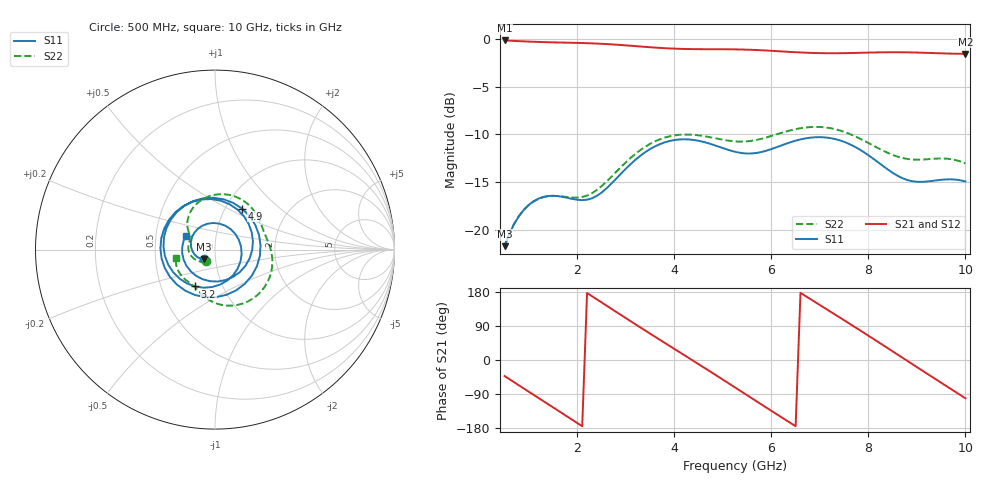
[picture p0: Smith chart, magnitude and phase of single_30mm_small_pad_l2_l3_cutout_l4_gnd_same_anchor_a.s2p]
! Touchstone file exported from HFSS 3D Layout Design 2026.1.0
!  File:  D:/Work/ADS/HFSS_VERDICT/hfss_sma_connector_cpw.aedt
!  Generated:  06:46:11 PM Aug  5, 2026
!  Design:  SINGLE_END_SMA_CPW_30MM
!  Project:  hfss_sma_connector_cpw
! Variables:
!  $sma_Base_D = 6.25mm
!  $sma_Base_L = 8mm
!  $sma_Feet_L = 4mm
!  $sma_Feet_W = 1mm
!  $sma_Front_L = 1.5mm
!  $sma_Front_W = 6.5mm
!  $sma_Hole_D = 1.25mm
!  $sma_PTFE_D = 4.2mm
!  $sma_Pin_D = 0.95mm
!  $sma_Pin_P = 1.7mm
# GHz S MA R 50.000000
! Terminal data exported
! Port[1] = Port1
! Port[2] = S1_1_Pin_T1
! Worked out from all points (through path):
!   96 points, 500 MHz to 10 GHz, reference 50 ohm
!   highest |S21| = -0.12 dB at 500 MHz (marker M1); lowest = -1.5 dB at 10 GHz (marker M2)
!   group delay of S21, straight-line fit = 227 ps
!   lowest |S11| = -21.7 dB at 500 MHz (marker M3), VSWR 1.18, Z = 44 - j4.82 ohm
!   |S11| at or under -10 dB: start of sweep to end of sweep
!   |S22| runs from -21.7 to -9.2 dB; largest |S21 - S12| = 3.2e-13
!   S11 on the Smith chart (normalised r, x): 500 MHz: 0.88, -0.10; 3.2 GHz: 0.74, -0.32; 4.9 GHz: 1.20, +0.59; 10 GHz: 0.71, +0.11
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0.5  0.08191 -138.3  0.9863 -42.3  0.9863 -42.3  0.08246 -128.1
0.9  0.1274 -177.6  0.9755 -75.6  0.9755 -75.6  0.1275 -156.2
1.2  0.1456 151.6  0.9688 -100.4  0.9688 -100.4  0.1452 -174.7
1.7  0.1487 93.8  0.9614 -141.6  0.9614 -141.6  0.1493 162.0
2.1  0.1429 37.5  0.956 -174.8  0.956 -174.8  0.1485 152.9
2.6  0.1648 -39.9  0.9443 143.6  0.9443 143.6  0.1788 145.6
3.2  0.2332 -118.2  0.921 94.0  0.921 94.0  0.2506 123.2
3.7  0.2813 -172.8  0.9016 53.4  0.9016 53.4  0.2983 97.0
4.3  0.2978 124.6  0.889 5.1  0.889 5.1  0.3161 64.7
4.9  0.2738 56.6  0.8869 -43.6  0.8869 -43.6  0.3002 37.3
5.3  0.2549 5.2  0.885 -76.5  0.885 -76.5  0.2904 23.2
5.7  0.2531 -49.2  0.8784 -109.5  0.8784 -109.5  0.2963 10.6
6.2  0.2766 -113.8  0.8643 -150.4  0.8643 -150.4  0.3221 -8.3
6.5  0.2934 -148.8  0.8556 -174.8  0.8556 -174.8  0.3374 -21.9
6.9  0.3059 167.9  0.8473 153.1  0.8473 153.1  0.3468 -41.9
7.3  0.2998 126.1  0.845 121.0  0.845 121.0  0.338 -62.7
7.7  0.2744 83.5  0.848 88.6  0.848 88.6  0.3115 -82.5
8.1  0.236 37.4  0.8527 55.9  0.8527 55.9  0.2765 -99.3
8.5  0.199 -14.5  0.8552 22.8  0.8552 22.8  0.2471 -112.3
9.1  0.1783 -99.0  0.8505 -27.0  0.8505 -27.0  0.2335 -129.3
9.6  0.1836 -162.3  0.8427 -68.2  0.8427 -68.2  0.2363 -149.1
10  0.1791 154.3  0.8389 -101.0  0.8389 -101.0  0.2229 -168.6
